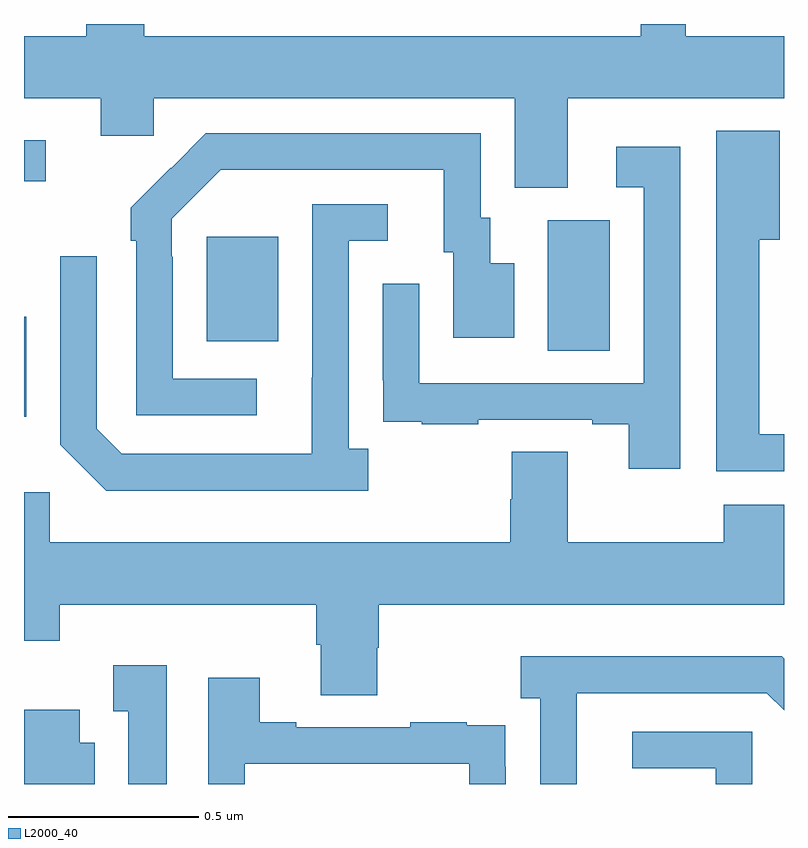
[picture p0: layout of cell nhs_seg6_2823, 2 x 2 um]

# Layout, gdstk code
import gdstk
lib = gdstk.Library(unit=1e-6, precision=1e-09)
def R(c, l, rs):  # rectangles x0, y0, x1, y1
    for r in rs: c.add(gdstk.rectangle(r[:2], r[2:], *l))
def P(c, l, *ps):  # polygons
    for p in ps: c.add(gdstk.Polygon(p, *l))
L2000_40 = (2000, 40)

nhs_seg6_2823 = lib.new_cell('nhs_seg6_2823')
R(nhs_seg6_2823, L2000_40, [(148,978.466,148.006,978.73), (149.378,978.64,149.542,978.984), (148.481,978.665,148.669,978.94), (148,979.086,148.057,979.194)])
P(nhs_seg6_2823, L2000_40, [(149.431,979.304),(150,979.304),(150,979.468),(149.741,979.468),(149.741,979.5),(149.623,979.5),(149.623,979.468),(148.316,979.468),(148.316,979.5),(148.164,979.5),(148.164,979.468),(148,979.468),(148,979.304),(148.202,979.304),(148.202,979.206),(148.341,979.206),(148.341,979.304),(149.291,979.304),(149.291,979.069),(149.431,979.069)],
  [(150,978.42),(149.935,978.42),(149.935,978.932),(149.989,978.932),(149.989,979.219),(149.822,979.219),(149.822,978.323),(150,978.323)],
  [(148.612,978.567),(148.392,978.567),(148.392,978.887),(148.389,978.887),(148.389,978.987),(148.518,979.116),(149.105,979.116),(149.105,978.9),(149.129,978.9),(149.129,978.675),(149.29,978.675),(149.29,978.871),(149.227,978.871),(149.227,978.99),(149.202,978.99),(149.202,979.212),(148.478,979.212),(148.387,979.121),(148.386,979.122),(148.281,979.017),(148.281,978.929),(148.296,978.929),(148.296,978.471),(148.612,978.471)],
  [(149.727,979.177),(149.559,979.177),(149.559,979.071),(149.631,979.071),(149.631,978.555),(149.04,978.555),(149.04,978.817),(148.944,978.817),(148.944,978.562),(148.945,978.562),(148.945,978.453),(149.047,978.453),(149.047,978.447),(149.195,978.447),(149.195,978.459),(149.495,978.459),(149.495,978.447),(149.591,978.447),(149.591,978.33),(149.727,978.33)],
  [(148.906,978.382),(148.854,978.382),(148.854,978.93),(148.957,978.93),(148.957,979.026),(148.758,979.026),(148.758,978.569),(148.757,978.569),(148.757,978.369),(148.257,978.369),(148.191,978.435),(148.191,978.889),(148.095,978.889),(148.095,978.393),(148.216,978.272),(148.906,978.272)],
  [(148.929,977.859),(148.934,977.859),(148.934,977.972),(150,977.972),(150,978.235),(149.842,978.235),(149.842,978.136),(149.431,978.136),(149.431,978.374),(149.284,978.374),(149.284,978.249),(149.279,978.249),(149.279,978.136),(148.068,978.136),(148.068,978.268),(148,978.268),(148,977.877),(148.094,977.877),(148.094,977.972),(148.769,977.972),(148.769,977.866),(148.781,977.866),(148.781,977.734),(148.929,977.734)],
  [(149.454,977.739),(149.955,977.739),(150,977.694),(150,977.83),(149.994,977.836),(149.307,977.836),(149.307,977.726),(149.358,977.726),(149.358,977.5),(149.454,977.5)],
  [(148.375,977.812),(148.235,977.812),(148.235,977.691),(148.274,977.691),(148.274,977.5),(148.375,977.5)],
  [(148.581,977.553),(149.172,977.553),(149.172,977.5),(149.268,977.5),(149.268,977.546),(149.267,977.546),(149.267,977.655),(149.165,977.655),(149.165,977.662),(149.017,977.662),(149.017,977.649),(148.717,977.649),(148.717,977.662),(148.621,977.662),(148.621,977.779),(148.485,977.779),(148.485,977.5),(148.581,977.5)],
  [(148.186,977.608),(148.147,977.608),(148.147,977.695),(148,977.695),(148,977.5),(148.186,977.5)],
  [(149.916,977.637),(149.601,977.637),(149.601,977.541),(149.82,977.541),(149.82,977.5),(149.916,977.5)])

lib.write_gds('nhs_seg6_2823.gds')
